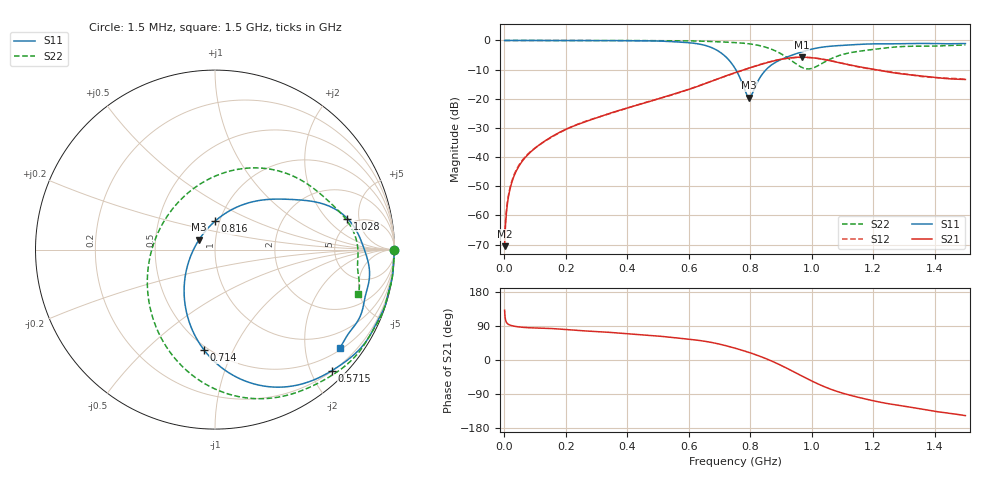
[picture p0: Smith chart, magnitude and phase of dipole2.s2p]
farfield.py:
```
import numpy as np
import torch
import unittest

from pathlib import Path
from io import StringIO
from skrf import Network, Frequency

import os, sys
sys.path.append(os.path.normpath(f'{__file__}/../'))
from mna import MnaCircuit, TensorGammaZ0, TensorYNetwork

ETA0 = 120 * np.pi
POWER_PREFIX = '// Radiated/Accepted/Stimulated Power , Frequency'
FIELD_PREFIX = '// >> Phi, Theta, Re(E_Theta), Im(E_Theta), Re(E_Phi), Im(E_Phi):'
TORCH_TRAPEZOID = torch.trapezoid if hasattr(torch, 'trapezoid') else torch.trapz

def compute_snp_currents(snp: Network, device=None, stim_power=0.5):
    conns = []
    for pin in range(snp.nports):
        port = MnaCircuit.Port(snp.frequency, f'p{pin}')
        conns.append([[snp, pin], [port, 0]])
    mna = MnaCircuit(conns, device=device)
    ret = []
    for pin in range(snp.nports):
        power = np.zeros([len(snp.frequency), snp.nports])
        power[:, pin] = stim_power
        phase = np.zeros(snp.nports)
        voltages = mna.node_voltages(power, phase)
        ret.append(mna.component_currents(voltages, snp))
    return torch.stack(ret, dim=1) # shape [F, P, P]

def read_sections(file: str, prefix = '//'):
    current_prefix = ''
    current_lines: list[str] = []
    out: list[tuple[str, list[str]]] = []
    for line in Path(file).read_text(encoding='utf8').splitlines():
        line = line.strip()
        if not line:
            continue
        elif line.startswith(prefix):
            if current_prefix:
                out.append((current_prefix, current_lines))
            current_prefix = line
            current_lines = []
        else:
            current_lines.append(line)
    if current_prefix:
        out.append((current_prefix, current_lines))
    return out

def read_section_arrays(sections, prefix: str):
    return [np.loadtxt(StringIO('\n'.join(lines))) for name, lines in sections if name == prefix]

def load_ffs(file: str):
    sections = read_sections(file)
    freq = read_section_arrays(sections, POWER_PREFIX)[0].reshape(-1, 4)[:, 3]
    fields = read_section_arrays(sections, FIELD_PREFIX)
    ffs = np.stack([
        np.stack([arr[:, 2] + 1j * arr[:, 3], arr[:, 4] + 1j * arr[:, 5]])
    for arr in fields])
    return Frequency.from_f(freq, unit='Hz'), fields[0][:, :2], ffs # shape [F, 2, L]

def load_ffs_files(ffs_files: list[str]):
    freq = Frequency(unit='GHz')
    angles, ret = np.zeros([]), []
    for file in ffs_files:
        freq, angles, ffs = load_ffs(file)
        ret.append(ffs)
    return freq, angles, np.stack(ret) # shape [P, F, 2, L]

def interp_conns(conn_list: list[list[tuple[Network, int]]], freq: Frequency):
    ntw_dict: dict[str, Network] = { }
    for conns in conn_list:
        for ntw, _ in conns:
            ntw_dict[ntw.name] = ntw
    for name, ntw in list(ntw_dict.items()):
        if np.array_equal(ntw.frequency.f, freq.f):
            continue
        ntw_dict[name] = ntw.interpolate(freq) # type: ignore
    return [
        [(ntw_dict[ntw.name], pin) for ntw, pin in conns]
    for conns in conn_list]

def farfield_grid(phi_theta: np.ndarray):
    ntheta = np.count_nonzero(np.isclose(phi_theta[:, 0], phi_theta[0, 0]))
    nphi = len(phi_theta) // ntheta
    phi = np.deg2rad(phi_theta[:, 0].reshape(nphi, ntheta))
    theta = np.deg2rad(phi_theta[:, 1].reshape(nphi, ntheta))
    if nphi > 1 and np.isclose(phi[-1, 0], phi[0, 0] + 2 * np.pi):
        phi, theta = phi[:-1], theta[:-1]
    return nphi, ntheta, phi, theta

class Farfield:
    def __init__(self, snp: Network, ffs_files: list[str], conn_list: list[list[tuple[Network, int]]], device=None) -> None:
        self.device = torch.device(device) if device is not None else None
        self.freqnency, angles, ffs = load_ffs_files(ffs_files)
        self.snp: Network = snp.interpolate(self.freqnency) # type: ignore
        self.snp = TensorYNetwork(self.snp, torch.tensor(self.snp.y, device=self.device, dtype=torch.complex128))
        self.z0 = torch.tensor(np.asarray(self.snp.z0), device=self.device, dtype=torch.complex128)
        self.koe = torch.linalg.inv(compute_snp_currents(self.snp, device=self.device))
        self.mna = MnaCircuit(interp_conns(conn_list, self.freqnency), device=self.device)

        self.nphi, self.ntheta, ff_phi, ff_theta = farfield_grid(angles)
        nphi_eff = ff_phi.shape[0]
        ffs = ffs.reshape(len(ffs), len(self.freqnency), 2, self.nphi, self.ntheta)[:, :, :, :nphi_eff]
        self.ffs = torch.as_tensor(np.ascontiguousarray(ffs), device=self.device, dtype=torch.complex128)
        self.ff_phi = torch.tensor(ff_phi[:, 0], device=self.device, dtype=torch.float64)
        self.ff_theta = torch.tensor(ff_theta[0], device=self.device, dtype=torch.float64)
        self.sin_theta = torch.sin(torch.tensor(ff_theta, device=self.device, dtype=torch.float64))
        self.nphi = nphi_eff

    def compute(self, power, phase):
        voltages = self.mna.node_voltages(power, phase)
        currents = self.mna.component_currents(voltages, self.snp)
        weights = torch.einsum('fij,fj->fi', self.koe, currents)
        ffs = torch.einsum('fp,pfcxy->fcxy', weights, self.ffs)
        density = (torch.abs(ffs[:, 0]) ** 2 + torch.abs(ffs[:, 1]) ** 2) * self.sin_theta
        return TORCH_TRAPEZOID(TORCH_TRAPEZOID(density, self.ff_theta, dim=2), self.ff_phi, dim=1) / (2 * ETA0)

class FarfieldTest(unittest.TestCase):
    @classmethod
    def setUpClass(cls):
        out = Path(__file__).parent / "assets"
        cls.file1 = out / "dipole2-port1.ffs"
        cls.file2 = out / "dipole2-port2.ffs"
        cls.snp_path = out / "dipole2.s2p"

    def read_expected_efficiency(self, path: Path) -> np.ndarray:
        power = read_section_arrays(read_sections(str(path)), POWER_PREFIX)[0].reshape(-1, 4)
        return power[:, 0] / power[:, 2]

    def build_direct_farfield(self) -> Farfield:
        snp = Network(str(self.snp_path))
        ports = [MnaCircuit.Port(snp.frequency, name=f"src-{i}") for i in range(snp.nports)]
        conns = [[(snp, i), (ports[i], 0)] for i in range(snp.nports)]
        return Farfield(snp, [str(self.file1), str(self.file2)], conns, device="cpu")

    def test_efficiency_matches_ffs_header(self):
        ff = self.build_direct_farfield()
        eta_1 = ff.compute([1.0, 0.0], [0.0, 0.0]).detach().cpu().numpy()
        eta_2 = ff.compute([0.0, 1.0], [0.0, 0.0]).detach().cpu().numpy()
        snp = Network(str(self.snp_path))
        res = TensorGammaZ0(snp.frequency).resistor(np.array(50), name='r')
        ff0 = Farfield(snp, [str(self.file1), str(self.file2)], [
            [(MnaCircuit.Port(snp.frequency, 'p'), 0), (res, 0)],
            [(res, 1), (snp, 0)],
            [(snp, 1), (MnaCircuit.Ground(snp.frequency, 'g'), 0)],
        ], device="cpu")
        np.savetxt('out/rad.txt', np.array([
            ff0.freqnency.f / 1e9,
            ff0.compute([1], [0.0]).detach().cpu().numpy(),
        ]).T)
        self.assertLess(np.abs(eta_1 - self.read_expected_efficiency(self.file1)).max(), 1.5e-2)
        self.assertLess(np.abs(eta_2 - self.read_expected_efficiency(self.file2)).max(), 1e-2)

    def test_optimize_efficiency_with_mna_component(self):
        freq, _, _ = load_ffs(str(self.file1))
        snp: Network = Network(str(self.snp_path)).interpolate(freq) # type: ignore
        z = TensorGammaZ0(freq)
        src = MnaCircuit.Port(freq, name="src-0")
        cap_value = torch.tensor(100.0, dtype=torch.float64, requires_grad=True)
        ind_value = torch.tensor(100.0, dtype=torch.float64, requires_grad=True)
        cap = z.tensor_capacitor(cap_value, name="c-0")
        ind = z.tensor_inductor(ind_value, name="l-0")
        gnd = MnaCircuit.Ground(freq, 'g')
        ff = Farfield(
            snp,
            [str(self.file1), str(self.file2)],
            [[(src, 0), (cap, 0)], [(cap, 1), (ind, 0)], [(ind, 1), (snp, 0)], [(snp, 1), (gnd, 0)]],
            device="cpu",
        )
        optimizer = torch.optim.Adam([cap_value, ind_value], lr=5.0)
        ff.mna.update_tensor()
        base = ff.compute([1.0], [0.0]).mean()
        for _ in range(40):
            ff.mna.update_tensor()
            loss = -ff.compute([1.0], [0.0]).mean()
            optimizer.zero_grad()
            loss.backward()
            optimizer.step()
            with torch.no_grad():
                cap_value.clamp_(1e-3, 200.0)
                ind_value.clamp_(1e-3, 200.0)
        ff.mna.update_tensor()
        final = ff.compute([1.0], [0.0]).mean()
        np.savetxt('out/opt.txt', np.array([
            ff.freqnency.f / 1e9,
            ff.compute([1], [0.0]).detach().cpu().numpy(),
        ]).T)
        self.assertGreater(final.item(), base.item() + 0.1)


if __name__ == "__main__":
    unittest.main()
```
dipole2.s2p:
! TOUCHSTONE file generated by CST MICROWAVE STUDIO
! Date and time: Mon Apr  6 12:04:22 2026
! Project name: dipole2.cst
! Parameters = {L=80; N=5; gap=5; r=1}
! Header version: 2018
! Port assignment regex: !\s*Touchstone port\s*([0-9]+)\s*=\s*(CST MWS port|CST DS port)\s*([0-9]+|Zmin|Zmax)\s*\(\"(.*)\"\)(\s*mode\s*([0-9]+))?.*
! Touchstone port assignment:
! Touchstone port 1 = CST MWS port 1 ("")
! Touchstone port 2 = CST MWS port 2 ("")
# GHz S MA R 50
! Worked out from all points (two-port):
!   1000 points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, 1.5 MHz to 1.5 GHz, reference 50 ohm
!   highest |S21| = -5.74 dB at 967.5 MHz (marker M1); lowest = -70.6 dB at 1.5 MHz (marker M2)
!   |S21| within 3 dB of the highest: 818.7 MHz to 1.141 GHz (322.1 MHz wide, 32.9 % of centre)
!   lowest |S11| = -19.6 dB at 796.5 MHz (marker M3), VSWR 1.23, Z = 41.6 + j4.68 ohm
!   |S11| at or under -10 dB: 753.3 MHz to 851.9 MHz (98.61 MHz wide, 12.3 % of centre)
!   |S22| runs from -9.8 to 0.0 dB; largest |S21 - S12| = 0.0063
!   S11 on the Smith chart (normalised r, x): 1.5 MHz: open; 571.5 MHz: 0.21, -2.34; 714 MHz: 0.47, -0.78; 816 MHz: 0.95, +0.31; 1.028 GHz: 4.31, +3.51; 1.5 GHz: 0.55, -2.78
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0.0015  1 -0.1  0.0002966 131.2  0.0005366 154.0  1 -0.1
0.03  0.999 -1.6  0.004416 89.6  0.004637 92.1  0.9994 -1.4
0.102  0.9973 -5.1  0.01443 84.5  0.01454 83.1  0.9972 -4.7
0.5715  0.9374 -46.0  0.1295 57.3  0.1286 57.9  0.9859 -33.5
0.714  0.5642 -96.1  0.2394 39.2  0.2377 38.9  0.9403 -52.3
0.7515  0.3281 -121.2  0.2807 31.0  0.2786 31.3  0.9189 -59.5
0.7965  0.1045 147.8  0.3357 19.9  0.3364 20.3  0.8764 -71.3
0.816  0.1581 90.1  0.3617 14.5  0.3638 14.8  0.8461 -77.7
0.9675  0.6361 24.2  0.5162 -41.9  0.5129 -41.7  0.3467 176.7
1.0275  0.7578 13.2  0.4843 -65.6  0.4867 -65.2  0.3867 97.9
1.5  0.8843 -38.3  0.2144 -146.8  0.2154 -148.4  0.8369 -17.4
